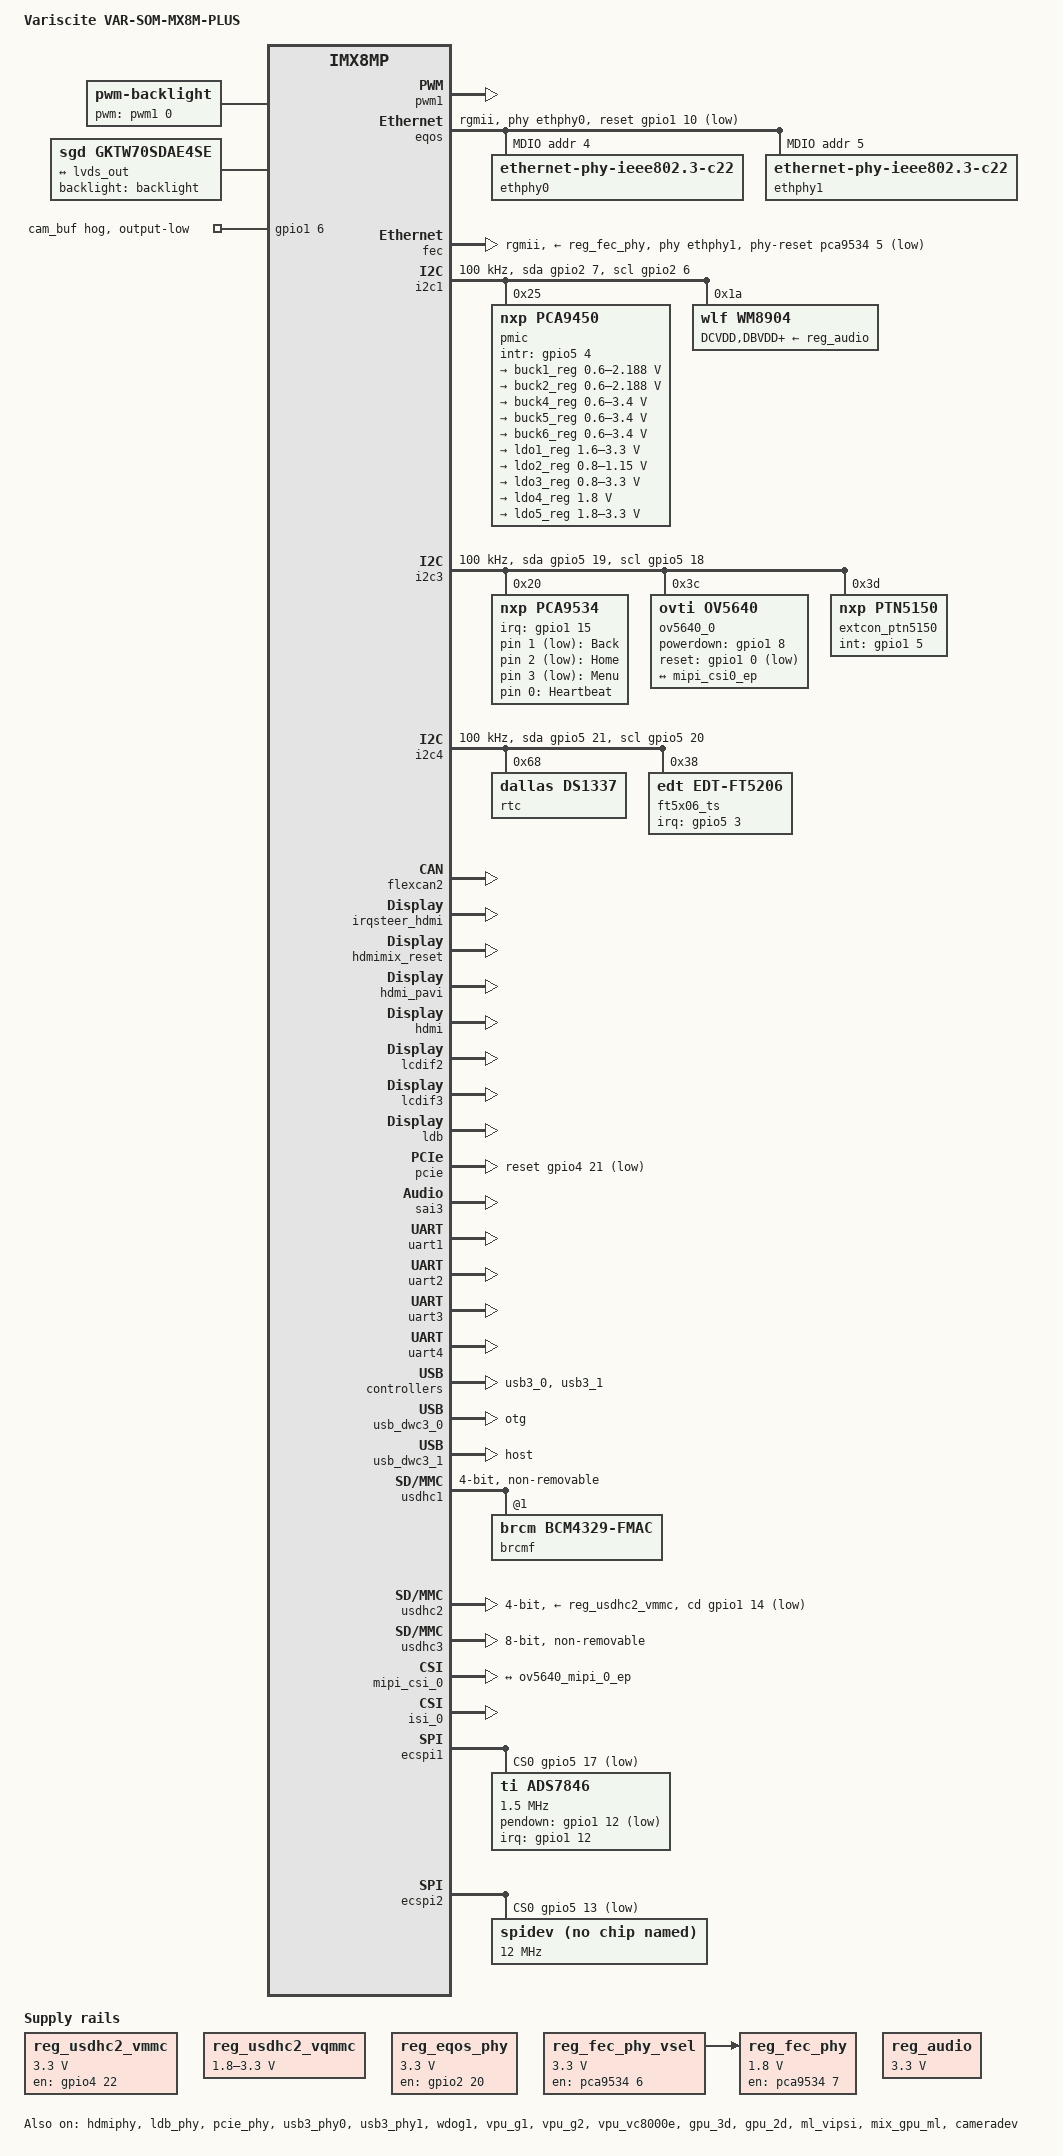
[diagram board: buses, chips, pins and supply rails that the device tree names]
// SPDX-License-Identifier: (GPL-2.0+ OR MIT)
/*
 * Copyright 2019 NXP
 * Copyright 2020 Variscite Ltd.
 */

/dts-v1/;

#include <dt-bindings/usb/pd.h>
#include "imx8mp.dtsi"

/ {
	model = "Variscite VAR-SOM-MX8M-PLUS";
	compatible = "variscite,imx8mp-var-som", "fsl,imx8mp";

	chosen {
		stdout-path = &uart2;
	};

	/delete-node/ memory@40000000;

	reserved-memory {
		/* CMA region is configured by kernel command line as cma=<size>M */
		/delete-node/ linux,cma;
	};

	gpio-keys {
		compatible = "gpio-keys";
		status = "okay";

		back {
			label = "Back";
			gpios = <&pca9534 1 GPIO_ACTIVE_LOW>;
			linux,code = <KEY_BACK>;
			wakeup-source;
		};

		home {
			label = "Home";
			gpios = <&pca9534 2 GPIO_ACTIVE_LOW>;
			linux,code = <KEY_HOME>;
			wakeup-source;
		};

		menu {
			label = "Menu";
			gpios = <&pca9534 3 GPIO_ACTIVE_LOW>;
			linux,code = <KEY_MENU>;
			wakeup-source;
		};
	};

	leds {
		compatible = "gpio-leds";
		status = "okay";

		heartbeat {
			label = "Heartbeat";
			gpios = <&pca9534 0 GPIO_ACTIVE_HIGH>;
			linux,default-trigger = "heartbeat";
		};
	};

	reg_usdhc2_vmmc: regulator-usdhc2-vmmc {
		compatible = "regulator-fixed";
		regulator-name = "VSD_3V3";
		regulator-min-microvolt = <3300000>;
		regulator-max-microvolt = <3300000>;
		gpio = <&gpio4 22 GPIO_ACTIVE_HIGH>;
		enable-active-high;
		startup-delay-us = <100>;
		off-on-delay-us = <12000>;
	};

	reg_usdhc2_vqmmc: regulator-usdhc2-vqmmc {
		compatible = "regulator-gpio";
		regulator-name = "VSD_VSEL";
		regulator-min-microvolt = <1800000>;
		regulator-max-microvolt = <3300000>;
		gpio = <&gpio2 12 GPIO_ACTIVE_HIGH>;
		gpios-states = <1>;
		states = <3300000 0
			  1800000 1>;
	};

	reg_eqos_phy: regulator-eqos-phy {
		compatible = "regulator-fixed";
		regulator-name = "eqos-phy";
		regulator-min-microvolt = <3300000>;
		regulator-max-microvolt = <3300000>;
		gpio = <&gpio2 20 GPIO_ACTIVE_HIGH>;
		enable-active-high;
		regulator-always-on;
	};

	reg_fec_phy_vsel: regulator-fec-phy-vsel {
		compatible = "regulator-fixed";
		regulator-name = "fec-phy-vsel";
		regulator-min-microvolt = <3300000>;
		regulator-max-microvolt = <3300000>;
		regulator-always-on;
		gpio = <&pca9534 6 GPIO_ACTIVE_HIGH>;
		enable-active-high;
	};

	reg_fec_phy: regulator-fec-phy {
		compatible = "regulator-fixed";
		regulator-name = "fec-phy";
		vin-supply = <&reg_fec_phy_vsel>;
		regulator-min-microvolt = <1800000>;
		regulator-max-microvolt = <1800000>;
		gpio = <&pca9534 7 GPIO_ACTIVE_HIGH>;
		enable-active-high;
		regulator-always-on;
	};

	reg_audio: regulator-audio-vdd {
		compatible = "regulator-fixed";
		regulator-name = "wm8904_supply";
		regulator-min-microvolt = <3300000>;
		regulator-max-microvolt = <3300000>;
		regulator-always-on;
	};

	sound-wm8904 {
		compatible = "fsl,imx-audio-wm8904";
		model = "wm8904-audio";
		audio-cpu = <&sai3>;
		audio-codec = <&wm8904>;
		audio-routing =
			"Headphone Jack", "HPOUTL",
			"Headphone Jack", "HPOUTR",
			"IN2L", "Line In Jack",
			"IN2R", "Line In Jack",
			"IN1L", "Mic Jack",
			"Playback", "CPU-Playback",
			"CPU-Capture", "Capture";
		status = "okay";
	};

	sound-hdmi {
		compatible = "fsl,imx-audio-cdnhdmi";
		model = "audio-hdmi";
		audio-cpu = <&aud2htx>;
		hdmi-out;
		constraint-rate = <44100>,
				<88200>,
				<176400>,
				<32000>,
				<48000>,
				<96000>,
				<192000>;
		status = "disabled";
	};

	backlight: backlight {
		compatible = "pwm-backlight";
		pwms = <&pwm1 0 1000000>;
		status = "okay";

		brightness-levels = < 0  1  2  3  4  5  6  7  8  9
				     10 11 12 13 14 15 16 17 18 19
				     20 21 22 23 24 25 26 27 28 29
				     30 31 32 33 34 35 36 37 38 39
				     40 41 42 43 44 45 46 47 48 49
				     50 51 52 53 54 55 56 57 58 59
				     60 61 62 63 64 65 66 67 68 69
				     70 71 72 73 74 75 76 77 78 79
				     80 81 82 83 84 85 86 87 88 89
				     90 91 92 93 94 95 96 97 98 99
				    100>;
		default-brightness-level = <80>;
	};

	panel {
		compatible = "sgd,gktw70sdae4se", "panel-lvds";
		backlight = <&backlight>;
		width-mm = <153>;
		height-mm = <87>;
		label = "gktw70sdae4se";
		data-mapping = "jeida-24";
		status = "okay";

		panel-timing {
			clock-frequency = <33000000>;
			hactive = <800>;
			vactive = <480>;
			hback-porch = <40>;
			hfront-porch = <40>;
			vback-porch = <29>;
			vfront-porch = <13>;
			hsync-len = <48>;
			vsync-len = <3>;
			hsync-active = <0>;
			vsync-active = <0>;
			de-active = <1>;
		};

		port {
			panel_in: endpoint {
				remote-endpoint = <&lvds_out>;
			};
		};
	};
};

&aud2htx {
	status = "disabled";
};

&clk {
	init-on-array = <IMX8MP_CLK_HSIO_ROOT>;
};

&A53_0 {
	cpu-supply = <&buck2_reg>;
};

&pwm1 {
	pinctrl-names = "default";
	pinctrl-0 = <&pinctrl_pwm1>;
	status = "okay";
};

&eqos {
	pinctrl-names = "default";
	pinctrl-0 = <&pinctrl_eqos>;
	phy-mode = "rgmii";
	phy-handle = <&ethphy0>;
	snps,reset-gpio = <&gpio1 10 GPIO_ACTIVE_LOW>;
	snps,reset-delays-us = <100000 10000 100000>;
	mdio_rst_after_resume;
	status = "okay";

	mdio {
		compatible = "snps,dwmac-mdio";
		#address-cells = <1>;
		#size-cells = <0>;

		ethphy0: ethernet-phy@4 {
			compatible = "ethernet-phy-ieee802.3-c22";
			reg = <4>;
			at803x,eee-disabled;
			at803x,vddio-1p8v;
			eee-broken-1000t;
		};

		ethphy1: ethernet-phy@5 {
			compatible = "ethernet-phy-ieee802.3-c22";
			reg = <5>;
			at803x,eee-disabled;
			at803x,vddio-1p8v;
			eee-broken-1000t;
		};
	};
};

&fec {
	pinctrl-names = "default";
	pinctrl-0 = <&pinctrl_fec>;
	phy-mode = "rgmii";
	phy-handle = <&ethphy1>;
	phy-supply = <&reg_fec_phy>;
	phy-reset-gpios = <&pca9534 5 GPIO_ACTIVE_LOW>;
	phy-reset-duration = <10>;
	phy-reset-post-delay = <100>;
	status = "okay";
};

&flexspi {
	pinctrl-names = "default";
	pinctrl-0 = <&pinctrl_flexspi0>;
	status = "disabled";
};

&i2c1 {
	clock-frequency = <100000>;
	pinctrl-names = "default", "gpio";
	pinctrl-0 = <&pinctrl_i2c1>;
	pinctrl-1 = <&pinctrl_i2c1_gpio>;
	scl-gpios = <&gpio2 6 GPIO_ACTIVE_HIGH>;
	sda-gpios = <&gpio2 7 GPIO_ACTIVE_HIGH>;
	status = "okay";

	pmic: pca9450@25 {
		reg = <0x25>;
		compatible = "nxp,pca9450";
		pinctrl-0 = <&pinctrl_pmic>;
		gpio_intr = <&gpio5 4 IRQ_TYPE_LEVEL_LOW>;
		status = "okay";

		regulators {
			#address-cells = <1>;
			#size-cells = <0>;

			pca9450,pmic-buck2-uses-i2c-dvs;
			/* Run/Standby voltage */
			pca9450,pmic-buck2-dvs-voltage = <950000>, <850000>;

			buck1_reg: regulator@0 {
				reg = <0>;
				regulator-compatible = "buck1";
				regulator-min-microvolt = <600000>;
				regulator-max-microvolt = <2187500>;
				regulator-boot-on;
				regulator-always-on;
				regulator-ramp-delay = <3125>;
			};

			buck2_reg: regulator@1 {
				reg = <1>;
				regulator-compatible = "buck2";
				regulator-min-microvolt = <600000>;
				regulator-max-microvolt = <2187500>;
				regulator-boot-on;
				regulator-always-on;
				regulator-ramp-delay = <3125>;
			};

			buck4_reg: regulator@3 {
				reg = <3>;
				regulator-compatible = "buck4";
				regulator-min-microvolt = <600000>;
				regulator-max-microvolt = <3400000>;
				regulator-boot-on;
				regulator-always-on;
			};

			buck5_reg: regulator@4 {
				reg = <4>;
				regulator-compatible = "buck5";
				regulator-min-microvolt = <600000>;
				regulator-max-microvolt = <3400000>;
				regulator-boot-on;
				regulator-always-on;
			};

			buck6_reg: regulator@5 {
				reg = <5>;
				regulator-compatible = "buck6";
				regulator-min-microvolt = <600000>;
				regulator-max-microvolt = <3400000>;
				regulator-boot-on;
				regulator-always-on;
			};

			ldo1_reg: regulator@6 {
				reg = <6>;
				regulator-compatible = "ldo1";
				regulator-min-microvolt = <1600000>;
				regulator-max-microvolt = <3300000>;
				regulator-boot-on;
				regulator-always-on;
			};

			ldo2_reg: regulator@7 {
				reg = <7>;
				regulator-compatible = "ldo2";
				regulator-min-microvolt = <800000>;
				regulator-max-microvolt = <1150000>;
				regulator-boot-on;
				regulator-always-on;
			};

			ldo3_reg: regulator@8 {
				reg = <8>;
				regulator-compatible = "ldo3";
				regulator-min-microvolt = <800000>;
				regulator-max-microvolt = <3300000>;
				regulator-boot-on;
				regulator-always-on;
			};

			ldo4_reg: regulator@9 {
				reg = <9>;
				regulator-compatible = "ldo4";
				regulator-min-microvolt = <1800000>;
				regulator-max-microvolt = <1800000>;
				regulator-always-on;
			};

			ldo5_reg: regulator@10 {
				reg = <10>;
				regulator-compatible = "ldo5";
				regulator-min-microvolt = <1800000>;
				regulator-max-microvolt = <3300000>;
			};
		};
	};

	wm8904: codec@1a {
		compatible = "wlf,wm8904";
		reg = <0x1a>;
		clocks = <&audiomix_clk IMX8MP_CLK_AUDIOMIX_SAI3_MCLK1>;
		clock-names = "mclk";
		DCVDD-supply = <&reg_audio>;
		DBVDD-supply = <&reg_audio>;
		AVDD-supply = <&reg_audio>;
		CPVDD-supply = <&reg_audio>;
		MICVDD-supply = <&reg_audio>;
		gpio-cfg = <
			0x0018 /* GPIO1 => DMIC_CLK */
			0xffff /* GPIO2 => don't touch */
			0xffff /* GPIO3 => don't touch */
			0xffff /* GPIO4 => don't touch */
		>;
		status = "okay";
	};
};

&i2c3 {
	clock-frequency = <100000>;
	pinctrl-names = "default", "gpio";
	pinctrl-0 = <&pinctrl_i2c3>;
	pinctrl-1 = <&pinctrl_i2c3_gpio>;
	scl-gpios = <&gpio5 18 GPIO_ACTIVE_HIGH>;
	sda-gpios = <&gpio5 19 GPIO_ACTIVE_HIGH>;
	status = "okay";

	/* GPIO expander */
	pca9534: gpio@20 {
		status = "okay";
		compatible = "nxp,pca9534";
		reg = <0x20>;
		gpio-controller;
		pinctrl-names = "default";
		pinctrl-0 = <&pinctrl_pca9534>;
		interrupt-parent = <&gpio1>;
		interrupts = <15 IRQ_TYPE_EDGE_FALLING>;
		#gpio-cells = <2>;
		wakeup-source;

		usb3_sel_hog {
			gpio-hog;
			gpios = <4 0>;
			output-low;
			line-name = "usb3_sel";
		};
	};

	ov5640_0: ov5640_mipi@3c {
		compatible = "ovti,ov5640";
		reg = <0x3c>;
		pinctrl-names = "default";
		pinctrl-0 = <&pinctrl_csi0>;
		clocks = <&clk IMX8MP_CLK_IPP_DO_CLKO2>;
		clock-names = "xclk";
/* Disabled CLKO2, since DART-MX8MP camera expansion board uses
 * its own oscillator. Enable CLK02 if your desing requres it
 */
#if 0
		assigned-clocks = <&clk IMX8MP_CLK_IPP_DO_CLKO2>;
		assigned-clock-parents = <&clk IMX8MP_CLK_24M>;
#endif
		assigned-clock-rates = <24000000>;
		csi_id = <0>;
		powerdown-gpios = <&gpio1 8 GPIO_ACTIVE_HIGH>;
		reset-gpios = <&gpio1 0 GPIO_ACTIVE_LOW>;
		mclk = <24000000>;
		mclk_source = <0>;
		mipi_csi;
		status = "okay";

		port {
			ov5640_mipi_0_ep: endpoint {
				remote-endpoint = <&mipi_csi0_ep>;
				data-lanes = <1 2>;
				clock-lanes = <0>;
			};
		};
	};

	/* USB Type-C Controller */
	extcon_ptn5150: typec@3d {
		compatible = "nxp,ptn5150";
		pinctrl-names = "default";
		pinctrl-0 = <&pinctrl_extcon>;
		reg = <0x3d>;
		int-gpio = <&gpio1 5 GPIO_ACTIVE_HIGH>;
		status ="okay";
	};
};

&i2c4 {
	clock-frequency = <100000>;
	pinctrl-names = "default", "gpio";
	pinctrl-0 = <&pinctrl_i2c4>;
	pinctrl-1 = <&pinctrl_i2c4_gpio>;
	scl-gpios = <&gpio5 20 GPIO_ACTIVE_HIGH>;
	sda-gpios = <&gpio5 21 GPIO_ACTIVE_HIGH>;
	status = "okay";

	/* DS1337 RTC module */
	rtc@68 {
		status = "okay";
		compatible = "dallas,ds1337";
		reg = <0x68>;
	};

	/* Capacitive touch controller */
	ft5x06_ts: ft5x06_ts@38 {
		status = "okay";
		compatible = "edt,edt-ft5206";
		reg = <0x38>;
		pinctrl-names = "default";
		pinctrl-0 = <&pinctrl_captouch>;
		interrupt-parent = <&gpio5>;
		interrupts = <3 IRQ_TYPE_EDGE_FALLING>;
		touchscreen-size-x = <800>;
		touchscreen-size-y = <480>;
		touchscreen-inverted-x;
		touchscreen-inverted-y;
		wakeup-source;
	};
};

&flexcan2 {
	pinctrl-names = "default";
	pinctrl-0 = <&pinctrl_flexcan2>;
	status = "okay";
};

&irqsteer_hdmi {
	status = "okay";
};

&hdmimix_clk {
	status = "okay";
};

&hdmimix_reset {
	status = "okay";
};

&hdmi_pavi {
	status = "okay";
};

&hdmi {
	status = "okay";
};

&hdmiphy {
	status = "okay";
};

/* MIPI-DSI */
&lcdif1 {
	status = "disabled";
};

/* LVDS */
&lcdif2 {
	status = "okay";
};

/* HDMI */
&lcdif3 {
	status = "okay";
};

&ldb {
	status = "okay";

	lvds-channel@0 {
		fsl,data-mapping = "jeida";
		fsl,data-width = <24>;
		status = "okay";

		port@1 {
			reg = <1>;

			lvds_out: endpoint {
				remote-endpoint = <&panel_in>;
			};
		};
	};
};

&ldb_phy {
	status = "okay";
};

&mipi_dsi {
	status = "disabled";
};

&pcie {
	pinctrl-names = "default";
	pinctrl-0 = <&pinctrl_pcie>;
	reset-gpio = <&gpio4 21 GPIO_ACTIVE_LOW>;
	ext_osc = <1>;
	clocks = <&clk IMX8MP_CLK_HSIO_AXI_DIV>,
		 <&clk IMX8MP_CLK_PCIE_AUX>,
		 <&clk IMX8MP_CLK_PCIE_PHY>,
		 <&clk IMX8MP_CLK_PCIE_ROOT>;
	clock-names = "pcie", "pcie_aux", "pcie_phy", "pcie_bus";
	assigned-clocks = <&clk IMX8MP_CLK_HSIO_AXI_SRC>,
			  <&clk IMX8MP_CLK_PCIE_AUX>;
	assigned-clock-parents = <&clk IMX8MP_SYS_PLL2_500M>,
				 <&clk IMX8MP_SYS_PLL2_50M>;
	status = "okay";
};

&pcie_ep {
	pinctrl-names = "default";
	pinctrl-0 = <&pinctrl_pcie>;
	ext_osc = <1>;
	clocks = <&clk IMX8MP_CLK_HSIO_AXI_DIV>,
		 <&clk IMX8MP_CLK_PCIE_AUX>,
		 <&clk IMX8MP_CLK_PCIE_PHY>,
		 <&clk IMX8MP_CLK_PCIE_ROOT>;
	clock-names = "pcie", "pcie_aux", "pcie_phy", "pcie_bus";
	assigned-clocks = <&clk IMX8MP_CLK_HSIO_AXI_SRC>,
			  <&clk IMX8MP_CLK_PCIE_AUX>;
	assigned-clock-parents = <&clk IMX8MP_SYS_PLL2_500M>,
				 <&clk IMX8MP_SYS_PLL2_50M>;
	status = "disabled";
};

&pcie_phy {
	ext_osc = <1>;
	status = "okay";
};

&sai3 {
	pinctrl-names = "default";
	pinctrl-0 = <&pinctrl_sai3>;
	assigned-clocks = <&clk IMX8MP_CLK_SAI3>;
	assigned-clock-parents = <&clk IMX8MP_AUDIO_PLL1_OUT>;
	assigned-clock-rates = <11536000>;
	fsl,sai-mclk-direction-output;
	status = "okay";
};

&sdma2 {
	status = "okay";
};

/* Header */
&uart1 {
	pinctrl-names = "default";
	pinctrl-0 = <&pinctrl_uart1>;
	status = "okay";
};

/* Console */
&uart2 {
	pinctrl-names = "default";
	pinctrl-0 = <&pinctrl_uart2>;
	status = "okay";
};

/* BT */
&uart3 {
	pinctrl-names = "default";
	pinctrl-0 = <&pinctrl_uart3>, <&pinctrl_bt>;
	assigned-clocks = <&clk IMX8MP_CLK_UART3>;
	assigned-clock-parents = <&clk IMX8MP_SYS_PLL1_80M>;
	fsl,uart-has-rtscts;
	status = "okay";
};

/* Header */
&uart4 {
	pinctrl-names = "default";
	pinctrl-0 = <&pinctrl_uart4>;
	status = "okay";
};

&usb3_phy0 {
	status = "okay";
};

&usb3_0 {
	status = "okay";
};

&usb_dwc3_0 {
	dr_mode = "otg";
	hnp-disable;
	srp-disable;
	adp-disable;
	extcon = <&extcon_ptn5150>;
	status = "okay";
};

&usb3_phy1 {
	status = "okay";
};

&usb3_1 {
	status = "okay";
};

&usb_dwc3_1 {
	dr_mode = "host";
	status = "okay";
};

&usdhc1 {
	#address-cells = <1>;
	#size-cells = <0>;
	pinctrl-names = "default", "state_100mhz", "state_200mhz";
	pinctrl-0 = <&pinctrl_usdhc1>, <&pinctrl_wifi>;
	pinctrl-1 = <&pinctrl_usdhc1_100mhz>, <&pinctrl_wifi>;
	pinctrl-2 = <&pinctrl_usdhc1_200mhz>, <&pinctrl_wifi>;
	bus-width = <4>;
	non-removable;
	keep-power-in-suspend;
	status = "okay";

	brcmf: bcrmf@1 {
		reg = <1>;
		compatible = "brcm,bcm4329-fmac";
	};
};

&usdhc2 {
	pinctrl-names = "default", "state_100mhz", "state_200mhz";
	pinctrl-0 = <&pinctrl_usdhc2>, <&pinctrl_usdhc2_gpio>;
	pinctrl-1 = <&pinctrl_usdhc2_100mhz>, <&pinctrl_usdhc2_gpio>;
	pinctrl-2 = <&pinctrl_usdhc2_200mhz>, <&pinctrl_usdhc2_gpio>;
	cd-gpios = <&gpio1 14 GPIO_ACTIVE_LOW>;
	vmmc-supply = <&reg_usdhc2_vmmc>;
	vqmmc-supply = <&reg_usdhc2_vqmmc>;
	bus-width = <4>;
	status = "okay";
};

&usdhc3 {
	pinctrl-names = "default", "state_100mhz", "state_200mhz";
	pinctrl-0 = <&pinctrl_usdhc3>;
	pinctrl-1 = <&pinctrl_usdhc3_100mhz>;
	pinctrl-2 = <&pinctrl_usdhc3_200mhz>;
	bus-width = <8>;
	non-removable;
	status = "okay";
};

&wdog1 {
	pinctrl-names = "default";
	pinctrl-0 = <&pinctrl_wdog>;
	fsl,ext-reset-output;
	status = "okay";
};

&iomuxc {
	pinctrl-names = "default";
	pinctrl-0 = <&pinctrl_hog>;

	pinctrl_hog: hoggrp {
		fsl,pins = <
			MX8MP_IOMUXC_HDMI_DDC_SCL__HDMIMIX_HDMI_SCL			0x400001c3
			MX8MP_IOMUXC_HDMI_DDC_SDA__HDMIMIX_HDMI_SDA			0x400001c3
			MX8MP_IOMUXC_HDMI_HPD__HDMIMIX_HDMI_HPD				0x40000019
			MX8MP_IOMUXC_HDMI_CEC__HDMIMIX_HDMI_CEC				0x40000019
		>;
	};

	pinctrl_pwm1: pwm1grp {
		fsl,pins = <
			MX8MP_IOMUXC_SPDIF_EXT_CLK__PWM1_OUT				0x116
		>;
	};

	pinctrl_eqos: eqosgrp {
		fsl,pins = <
			MX8MP_IOMUXC_ENET_MDC__ENET_QOS_MDC				0x3
			MX8MP_IOMUXC_ENET_MDIO__ENET_QOS_MDIO				0x3
			MX8MP_IOMUXC_ENET_RD0__ENET_QOS_RGMII_RD0			0x91
			MX8MP_IOMUXC_ENET_RD1__ENET_QOS_RGMII_RD1			0x91
			MX8MP_IOMUXC_ENET_RD2__ENET_QOS_RGMII_RD2			0x91
			MX8MP_IOMUXC_ENET_RD3__ENET_QOS_RGMII_RD3			0x91
			MX8MP_IOMUXC_ENET_RXC__CCM_ENET_QOS_CLOCK_GENERATE_RX_CLK	0x91
			MX8MP_IOMUXC_ENET_RX_CTL__ENET_QOS_RGMII_RX_CTL			0x91
			MX8MP_IOMUXC_ENET_TD0__ENET_QOS_RGMII_TD0			0x1f
			MX8MP_IOMUXC_ENET_TD1__ENET_QOS_RGMII_TD1			0x1f
			MX8MP_IOMUXC_ENET_TD2__ENET_QOS_RGMII_TD2			0x1f
			MX8MP_IOMUXC_ENET_TD3__ENET_QOS_RGMII_TD3			0x1f
			MX8MP_IOMUXC_ENET_TX_CTL__ENET_QOS_RGMII_TX_CTL			0x1f
			MX8MP_IOMUXC_ENET_TXC__CCM_ENET_QOS_CLOCK_GENERATE_TX_CLK	0x1f
			MX8MP_IOMUXC_SD2_WP__GPIO2_IO20					0x19 /* PHY Power */
			MX8MP_IOMUXC_GPIO1_IO10__GPIO1_IO10				0x19 /* PHY Reset */
		>;
	};

	pinctrl_fec: fecgrp {
		fsl,pins = <
			MX8MP_IOMUXC_SAI1_RXD4__ENET1_RGMII_RD0				0x91
			MX8MP_IOMUXC_SAI1_RXD5__ENET1_RGMII_RD1				0x91
			MX8MP_IOMUXC_SAI1_RXD6__ENET1_RGMII_RD2				0x91
			MX8MP_IOMUXC_SAI1_RXD7__ENET1_RGMII_RD3				0x91
			MX8MP_IOMUXC_SAI1_TXC__ENET1_RGMII_RXC				0x91
			MX8MP_IOMUXC_SAI1_TXFS__ENET1_RGMII_RX_CTL			0x91
			MX8MP_IOMUXC_SAI1_TXD0__ENET1_RGMII_TD0				0x00
			MX8MP_IOMUXC_SAI1_TXD1__ENET1_RGMII_TD1				0x00
			MX8MP_IOMUXC_SAI1_TXD2__ENET1_RGMII_TD2				0x00
			MX8MP_IOMUXC_SAI1_TXD3__ENET1_RGMII_TD3				0x00
			MX8MP_IOMUXC_SAI1_TXD4__ENET1_RGMII_TX_CTL			0x00
			MX8MP_IOMUXC_SAI1_TXD5__ENET1_RGMII_TXC				0x00
		>;
	};

	pinctrl_flexcan2: flexcan2grp {
		fsl,pins = <
			MX8MP_IOMUXC_UART3_RXD__CAN2_TX					0x154
			MX8MP_IOMUXC_UART3_TXD__CAN2_RX					0x154
		>;
	};

	pinctrl_flexspi0: flexspi0grp {
		fsl,pins = <
			MX8MP_IOMUXC_NAND_ALE__FLEXSPI_A_SCLK				0x1c2
			MX8MP_IOMUXC_NAND_CE0_B__FLEXSPI_A_SS0_B			0x82
			MX8MP_IOMUXC_NAND_DATA00__FLEXSPI_A_DATA00			0x82
			MX8MP_IOMUXC_NAND_DATA01__FLEXSPI_A_DATA01			0x82
			MX8MP_IOMUXC_NAND_DATA02__FLEXSPI_A_DATA02			0x82
			MX8MP_IOMUXC_NAND_DATA03__FLEXSPI_A_DATA03			0x82
		>;
	};

	pinctrl_captouch: captouchgrp {
		fsl,pins = <
			MX8MP_IOMUXC_SPDIF_TX__GPIO5_IO03 				0x16
		>;
	};

	pinctrl_i2c1: i2c1grp {
		fsl,pins = <
			MX8MP_IOMUXC_SD1_DATA4__I2C1_SCL				0x400001c3
			MX8MP_IOMUXC_SD1_DATA5__I2C1_SDA				0x400001c3
		>;
	};

	pinctrl_i2c3: i2c3grp {
		fsl,pins = <
			MX8MP_IOMUXC_I2C3_SCL__I2C3_SCL					0x400001c3
			MX8MP_IOMUXC_I2C3_SDA__I2C3_SDA					0x400001c3
		>;
	};

	pinctrl_i2c4: i2c4grp {
		fsl,pins = <
			MX8MP_IOMUXC_I2C4_SCL__I2C4_SCL					0x400001c3
			MX8MP_IOMUXC_I2C4_SDA__I2C4_SDA					0x400001c3
		>;
	};

	pinctrl_i2c1_gpio: i2c1gpiogrp {
		fsl,pins = <
			MX8MP_IOMUXC_SD1_DATA4__GPIO2_IO06				0x1c3
			MX8MP_IOMUXC_SD1_DATA5__GPIO2_IO07				0x1c3
		>;
	};

	pinctrl_i2c3_gpio: i2c3gpiogrp {
		fsl,pins = <
			MX8MP_IOMUXC_I2C3_SCL__GPIO5_IO18				0x1c3
			MX8MP_IOMUXC_I2C3_SDA__GPIO5_IO19				0x1c3
		>;
	};

	pinctrl_i2c4_gpio: i2c4gpiogrp {
		fsl,pins = <
			MX8MP_IOMUXC_I2C4_SCL__GPIO5_IO20				0x1c3
			MX8MP_IOMUXC_I2C4_SDA__GPIO5_IO21				0x1c3
		>;
	};

	pinctrl_pcie: pciegrp {
		fsl,pins = <
			MX8MP_IOMUXC_SAI2_RXFS__GPIO4_IO21				0x41
		>;
	};

	pinctrl_pmic: pmicgrp {
		fsl,pins = <
			MX8MP_IOMUXC_SPDIF_RX__GPIO5_IO04				0x1c1
		>;
	};

	pinctrl_sai3: sai3grp {
		fsl,pins = <
			MX8MP_IOMUXC_SAI3_TXFS__AUDIOMIX_SAI3_TX_SYNC			0xd6
			MX8MP_IOMUXC_SAI3_TXC__AUDIOMIX_SAI3_TX_BCLK			0xd6
			MX8MP_IOMUXC_SAI3_RXD__AUDIOMIX_SAI3_RX_DATA00			0xd6
			MX8MP_IOMUXC_SAI3_TXD__AUDIOMIX_SAI3_TX_DATA00			0xd6
			MX8MP_IOMUXC_SAI3_MCLK__AUDIOMIX_SAI3_MCLK			0xd6
			MX8MP_IOMUXC_SAI3_RXFS__AUDIOMIX_SAI3_RX_SYNC			0xd6
			MX8MP_IOMUXC_SAI3_RXC__AUDIOMIX_SAI3_RX_BCLK			0xd6
		>;
	};

	pinctrl_uart1: uart1grp {
		fsl,pins = <
			MX8MP_IOMUXC_UART1_RXD__UART1_DCE_RX				0x49
			MX8MP_IOMUXC_UART1_TXD__UART1_DCE_TX				0x49
		>;
	};

	pinctrl_uart2: uart2grp {
		fsl,pins = <
			MX8MP_IOMUXC_UART2_RXD__UART2_DCE_RX				0x49
			MX8MP_IOMUXC_UART2_TXD__UART2_DCE_TX				0x49
		>;
	};

	pinctrl_uart3: uart3grp {
		fsl,pins = <
			MX8MP_IOMUXC_ECSPI1_SCLK__UART3_DCE_RX				0x140
			MX8MP_IOMUXC_ECSPI1_MOSI__UART3_DCE_TX				0x140
			MX8MP_IOMUXC_ECSPI1_MISO__UART3_DCE_CTS				0x140
			MX8MP_IOMUXC_ECSPI1_SS0__UART3_DCE_RTS				0x140
		>;
	};

	pinctrl_uart4: uart4grp {
		fsl,pins = <
			MX8MP_IOMUXC_UART4_RXD__UART4_DCE_RX				0x49
			MX8MP_IOMUXC_UART4_TXD__UART4_DCE_TX				0x49
		>;
	};

	pinctrl_usdhc1: usdhc1grp {
		fsl,pins = <
			MX8MP_IOMUXC_SD1_CLK__USDHC1_CLK				0x190
			MX8MP_IOMUXC_SD1_CMD__USDHC1_CMD				0x1d0
			MX8MP_IOMUXC_SD1_DATA0__USDHC1_DATA0				0x1d0
			MX8MP_IOMUXC_SD1_DATA1__USDHC1_DATA1				0x1d0
			MX8MP_IOMUXC_SD1_DATA2__USDHC1_DATA2				0x1d0
			MX8MP_IOMUXC_SD1_DATA3__USDHC1_DATA3				0x1d0
		>;
	};

	pinctrl_usdhc1_100mhz: usdhc1grp-100mhz {
		fsl,pins = <
			MX8MP_IOMUXC_SD1_CLK__USDHC1_CLK				0x194
			MX8MP_IOMUXC_SD1_CMD__USDHC1_CMD				0x1d4
			MX8MP_IOMUXC_SD1_DATA0__USDHC1_DATA0				0x1d4
			MX8MP_IOMUXC_SD1_DATA1__USDHC1_DATA1				0x1d4
			MX8MP_IOMUXC_SD1_DATA2__USDHC1_DATA2				0x1d4
			MX8MP_IOMUXC_SD1_DATA3__USDHC1_DATA3				0x1d4
		>;
	};

	pinctrl_usdhc1_200mhz: usdhc1grp-200mhz {
		fsl,pins = <
			MX8MP_IOMUXC_SD1_CLK__USDHC1_CLK				0x196
			MX8MP_IOMUXC_SD1_CMD__USDHC1_CMD				0x1d6
			MX8MP_IOMUXC_SD1_DATA0__USDHC1_DATA0				0x1d6
			MX8MP_IOMUXC_SD1_DATA1__USDHC1_DATA1				0x1d6
			MX8MP_IOMUXC_SD1_DATA2__USDHC1_DATA2				0x1d6
			MX8MP_IOMUXC_SD1_DATA3__USDHC1_DATA3				0x1d6
		>;
	};

	pinctrl_usdhc2_gpio: usdhc2grp-gpio {
		fsl,pins = <
			MX8MP_IOMUXC_GPIO1_IO14__GPIO1_IO14 				0x1c4
			MX8MP_IOMUXC_SAI2_RXC__GPIO4_IO22				0x19
			MX8MP_IOMUXC_SD2_CD_B__GPIO2_IO12				0xc1
		>;
	};

	pinctrl_usdhc2: usdhc2grp {
		fsl,pins = <
			MX8MP_IOMUXC_SD2_CLK__USDHC2_CLK				0x190
			MX8MP_IOMUXC_SD2_CMD__USDHC2_CMD				0x1d0
			MX8MP_IOMUXC_SD2_DATA0__USDHC2_DATA0				0x1d0
			MX8MP_IOMUXC_SD2_DATA1__USDHC2_DATA1				0x1d0
			MX8MP_IOMUXC_SD2_DATA2__USDHC2_DATA2				0x1d0
			MX8MP_IOMUXC_SD2_DATA3__USDHC2_DATA3				0x1d0
		>;
	};

	pinctrl_usdhc2_100mhz: usdhc2grp-100mhz {
		fsl,pins = <
			MX8MP_IOMUXC_SD2_CLK__USDHC2_CLK				0x194
			MX8MP_IOMUXC_SD2_CMD__USDHC2_CMD				0x1d4
			MX8MP_IOMUXC_SD2_DATA0__USDHC2_DATA0				0x1d4
			MX8MP_IOMUXC_SD2_DATA1__USDHC2_DATA1				0x1d4
			MX8MP_IOMUXC_SD2_DATA2__USDHC2_DATA2				0x1d4
			MX8MP_IOMUXC_SD2_DATA3__USDHC2_DATA3				0x1d4
		>;
	};

	pinctrl_usdhc2_200mhz: usdhc2grp-200mhz {
		fsl,pins = <
			MX8MP_IOMUXC_SD2_CLK__USDHC2_CLK				0x196
			MX8MP_IOMUXC_SD2_CMD__USDHC2_CMD				0x1d6
			MX8MP_IOMUXC_SD2_DATA0__USDHC2_DATA0				0x1d6
			MX8MP_IOMUXC_SD2_DATA1__USDHC2_DATA1				0x1d6
			MX8MP_IOMUXC_SD2_DATA2__USDHC2_DATA2				0x1d6
			MX8MP_IOMUXC_SD2_DATA3__USDHC2_DATA3				0x1d6
		>;
	};

	pinctrl_usdhc3: usdhc3grp {
		fsl,pins = <
			MX8MP_IOMUXC_NAND_WE_B__USDHC3_CLK				0x190
			MX8MP_IOMUXC_NAND_WP_B__USDHC3_CMD				0x1d0
			MX8MP_IOMUXC_NAND_DATA04__USDHC3_DATA0				0x1d0
			MX8MP_IOMUXC_NAND_DATA05__USDHC3_DATA1				0x1d0
			MX8MP_IOMUXC_NAND_DATA06__USDHC3_DATA2				0x1d0
			MX8MP_IOMUXC_NAND_DATA07__USDHC3_DATA3				0x1d0
			MX8MP_IOMUXC_NAND_RE_B__USDHC3_DATA4				0x1d0
			MX8MP_IOMUXC_NAND_CE2_B__USDHC3_DATA5				0x1d0
			MX8MP_IOMUXC_NAND_CE3_B__USDHC3_DATA6				0x1d0
			MX8MP_IOMUXC_NAND_CLE__USDHC3_DATA7				0x1d0
			MX8MP_IOMUXC_NAND_CE1_B__USDHC3_STROBE				0x190
		>;
	};

	pinctrl_usdhc3_100mhz: usdhc3grp-100mhz {
		fsl,pins = <
			MX8MP_IOMUXC_NAND_WE_B__USDHC3_CLK				0x194
			MX8MP_IOMUXC_NAND_WP_B__USDHC3_CMD				0x1d4
			MX8MP_IOMUXC_NAND_DATA04__USDHC3_DATA0				0x1d4
			MX8MP_IOMUXC_NAND_DATA05__USDHC3_DATA1				0x1d4
			MX8MP_IOMUXC_NAND_DATA06__USDHC3_DATA2				0x1d4
			MX8MP_IOMUXC_NAND_DATA07__USDHC3_DATA3				0x1d4
			MX8MP_IOMUXC_NAND_RE_B__USDHC3_DATA4				0x1d4
			MX8MP_IOMUXC_NAND_CE2_B__USDHC3_DATA5				0x1d4
			MX8MP_IOMUXC_NAND_CE3_B__USDHC3_DATA6				0x1d4
			MX8MP_IOMUXC_NAND_CLE__USDHC3_DATA7				0x1d4
			MX8MP_IOMUXC_NAND_CE1_B__USDHC3_STROBE				0x194
		>;
	};

	pinctrl_usdhc3_200mhz: usdhc3grp-200mhz {
		fsl,pins = <
			MX8MP_IOMUXC_NAND_WE_B__USDHC3_CLK				0x196
			MX8MP_IOMUXC_NAND_WP_B__USDHC3_CMD				0x1d6
			MX8MP_IOMUXC_NAND_DATA04__USDHC3_DATA0				0x1d6
			MX8MP_IOMUXC_NAND_DATA05__USDHC3_DATA1				0x1d6
			MX8MP_IOMUXC_NAND_DATA06__USDHC3_DATA2				0x1d6
			MX8MP_IOMUXC_NAND_DATA07__USDHC3_DATA3				0x1d6
			MX8MP_IOMUXC_NAND_RE_B__USDHC3_DATA4				0x1d6
			MX8MP_IOMUXC_NAND_CE2_B__USDHC3_DATA5				0x1d6
			MX8MP_IOMUXC_NAND_CE3_B__USDHC3_DATA6				0x1d6
			MX8MP_IOMUXC_NAND_CLE__USDHC3_DATA7				0x1d6
			MX8MP_IOMUXC_NAND_CE1_B__USDHC3_STROBE				0x196
		>;
	};

	pinctrl_wdog: wdoggrp {
		fsl,pins = <
			MX8MP_IOMUXC_GPIO1_IO02__WDOG1_WDOG_B				0xc6
		>;
	};

	pinctrl_csi0: csi0grp {
		fsl,pins = <
			MX8MP_IOMUXC_GPIO1_IO00__GPIO1_IO00				0x19
			MX8MP_IOMUXC_GPIO1_IO08__GPIO1_IO08				0x19
			>;
	};

	pinctrl_csi1: csi1grp {
		fsl,pins = <
			MX8MP_IOMUXC_SAI1_RXD7__GPIO4_IO09				0x19
			MX8MP_IOMUXC_SAI1_TXD0__GPIO4_IO12				0x19
			>;
	};

	pinctrl_wifi: wifigrp {
		fsl,pins = <
			MX8MP_IOMUXC_SD2_RESET_B__GPIO2_IO19				0xc1
			MX8MP_IOMUXC_SD1_DATA6__GPIO2_IO08				0xc1
		>;
	};

	pinctrl_bt: btgrp {
		fsl,pins = <
			MX8MP_IOMUXC_SD1_DATA7__GPIO2_IO09				0xc1
			MX8MP_IOMUXC_GPIO1_IO04__GPIO1_IO04				0xc1
			MX8MP_IOMUXC_SD1_RESET_B__GPIO2_IO10				0xc1
		>;
	};

	pinctrl_extcon: extcongrp {
		fsl,pins = <
			MX8MP_IOMUXC_GPIO1_IO05__GPIO1_IO05				0x19
		>;
	};

	pinctrl_ecspi1: ecspi1grp {
		fsl,pins = <
			MX8MP_IOMUXC_I2C1_SCL__ECSPI1_SCLK				0x13
			MX8MP_IOMUXC_I2C1_SDA__ECSPI1_MOSI				0x13
			MX8MP_IOMUXC_I2C2_SCL__ECSPI1_MISO 				0x13
			MX8MP_IOMUXC_I2C2_SDA__GPIO5_IO17				0x13
		>;
	};

	pinctrl_ecspi2: ecspi12grp {
		fsl,pins = <
			MX8MP_IOMUXC_ECSPI2_SCLK__ECSPI2_SCLK				0x13
			MX8MP_IOMUXC_ECSPI2_MOSI__ECSPI2_MOSI				0x13
			MX8MP_IOMUXC_ECSPI2_MISO__ECSPI2_MISO 				0x13
			MX8MP_IOMUXC_ECSPI2_SS0__GPIO5_IO13				0x13
		>;
	};

	pinctrl_restouch: restouchgrp {
		fsl,pins = <
			MX8MP_IOMUXC_GPIO1_IO12__GPIO1_IO12				0xc0
		>;
	};

	pinctrl_pca9534: pca9534grp {
		fsl,pins = <
			MX8MP_IOMUXC_GPIO1_IO15__GPIO1_IO15				0xc0
		>;
	};
};

&vpu_g1 {
	status = "okay";
};

&vpu_g2 {
	status = "okay";
};

&vpu_vc8000e {
	status = "okay";
};

&gpu_3d {
	status = "okay";
};

&gpu_2d {
	status = "okay";
};

&ml_vipsi {
	status = "okay";
};

&mix_gpu_ml {
	status = "okay";
};

&mipi_csi_0 {
	#address-cells = <1>;
	#size-cells = <0>;
	status = "okay";

	port@0 {
		reg = <0>;
		mipi_csi0_ep: endpoint {
			remote-endpoint = <&ov5640_mipi_0_ep>;
			data-lanes = <2>;
			csis-hs-settle = <13>;
			csis-clk-settle = <2>;
			csis-wclk;
		};
	};
};

&cameradev {
	status = "okay";
};

&isi_0 {
	status = "okay";

	cap_device {
		status = "okay";
	};

	m2m_device {
		status = "okay";
	};
};

&ecspi1 {
	pinctrl-names = "default";
	pinctrl-0 = <&pinctrl_ecspi1>;
	cs-gpios = <&gpio5 17 GPIO_ACTIVE_LOW>;
	status = "okay";

	/* Resistive touch controller */
	ads7846@0 {
		reg = <0>;
		compatible = "ti,ads7846";
		pinctrl-names = "default";
		pinctrl-0 = <&pinctrl_restouch>;
		interrupt-parent = <&gpio1>;
		interrupts = <12 IRQ_TYPE_EDGE_FALLING>;
		spi-max-frequency = <1500000>;
		pendown-gpio = <&gpio1 12 GPIO_ACTIVE_LOW>;
		ti,x-min = /bits/ 16 <125>;
		ti,x-max = /bits/ 16 <4008>;
		ti,y-min = /bits/ 16 <282>;
		ti,y-max = /bits/ 16 <3864>;
		ti,x-plate-ohms = /bits/ 16 <180>;
		ti,pressure-max = /bits/ 16 <255>;
		ti,debounce-max = /bits/ 16 <10>;
		ti,debounce-tol = /bits/ 16 <3>;
		ti,debounce-rep = /bits/ 16 <1>;
		ti,settle-delay-usec = /bits/ 16 <150>;
		ti,keep-vref-on;
		wakeup-source;
		status = "okay";
	};
};

&ecspi2 {
	pinctrl-names = "default";
	pinctrl-0 = <&pinctrl_ecspi2>;
	cs-gpios = <&gpio5 13 GPIO_ACTIVE_LOW>;
	status = "okay";

	spidev@0 {
		reg = <0>;
		compatible = "var,spidev";
		spi-max-frequency = <12000000>;
		status = "okay";
	};
};

&snvs_rtc {
	status = "disabled";
};

&gpio1 {
	cam_buf_hog {
		gpio-hog;
		gpios = <6 0>;
		output-low;
		line-name = "cam_buf";
	};
};
